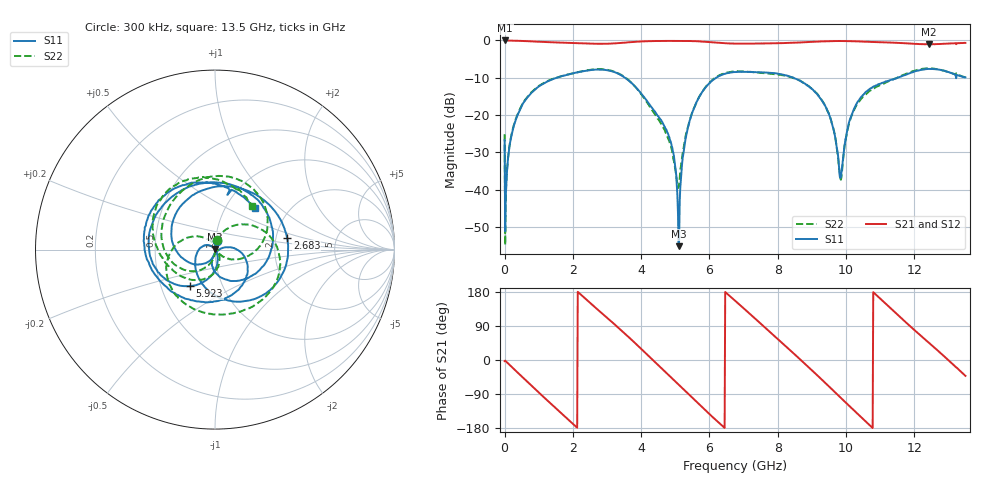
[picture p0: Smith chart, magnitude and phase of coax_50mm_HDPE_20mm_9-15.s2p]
!Agilent Technologies,N5230C,MY48100320,A.08.04.10
!Agilent N5230C: A.08.04.10
!Date: Thursday, September 15, 2016 22:07:35
!Correction: S11(Full 2 Port(1,2))
!S21(Full 2 Port(1,2))
!S12(Full 2 Port(1,2))
!S22(Full 2 Port(1,2))
!S2P File: Measurements: S11, S21, S12, S22:
# Hz S  dB  R 50
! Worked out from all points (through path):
!   801 points, 300 kHz to 13.5 GHz, reference 50 ohm
!   highest |S21| = 0.00 dB at 17.17 MHz (marker M1); lowest = -1.0 dB at 12.44 GHz (marker M2)
!   group delay of S21, straight-line fit = 231 ps
!   lowest |S11| = -55.1 dB at 5.096 GHz (marker M3), VSWR 1.00, Z = 49.9 + j0.143 ohm
!   |S11| at or under -10 dB: start of sweep to 1.528 GHz; 3.53 GHz to 6.196 GHz (2.666 GHz wide, 54.8 % of centre); 8.464 GHz to 11.51 GHz (3.044 GHz wide, 30.5 % of centre)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
!   |S22| runs from -54.8 to -7.5 dB; largest |S21 - S12| = 0.005
!   S11 on the Smith chart (normalised r, x): 300 kHz: 1.01, +0.09; 2.683 GHz: 2.31, +0.36; 5.923 GHz: 0.70, -0.30; 13.5 GHz: 1.36, +0.70
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300000  -26.68 78.6  -0.07 -2.9  -0.07 -2.9  -25.12 77.5
1.717462e7  -51.10 -109.9  0.00 -1.7  0.00 -1.7  -54.82 -82.8
4.221656e8  -19.08 -132.8  -0.10 -36.7  -0.10 -36.6  -18.97 -118.3
1.080276e9  -11.86 161.9  -0.37 -92.4  -0.37 -92.4  -11.76 -168.3
2.2615e9  -8.30 49.7  -0.77 170.2  -0.76 170.3  -8.28 111.4
2.683365e9  -7.80 9.1  -0.87 136.5  -0.87 136.5  -7.71 85.0
3.560846e9  -10.18 -69.3  -0.56 66.6  -0.55 66.6  -10.07 21.6
4.505825e9  -20.33 -174.8  -0.15 -14.1  -0.15 -14.2  -21.19 -35.6
4.893941e9  -28.19 143.7  -0.12 -47.4  -0.12 -47.5  -29.03 -44.0
5.096437e9  -55.10 125.4  -0.11 -64.8  -0.11 -64.9  -39.41 27.8
5.383305e9  -22.96 -78.9  -0.14 -89.7  -0.14 -89.7  -22.71 72.5
5.923293e9  -12.15 -124.2  -0.38 -136.2  -0.38 -136.2  -12.08 32.6
6.75015e9  -8.44 162.7  -0.84 156.6  -0.84 156.6  -8.28 -28.2
7.779502e9  -8.68 61.5  -0.77 73.5  -0.77 73.5  -8.90 -94.9
8.437612e9  -9.88 3.6  -0.61 19.8  -0.62 19.8  -9.97 -143.9
9.01135e9  -13.04 -49.9  -0.37 -27.9  -0.37 -27.9  -12.97 174.7
9.517588e9  -20.17 -97.5  -0.19 -71.0  -0.18 -71.0  -19.96 135.9
9.838206e9  -36.87 -56.2  -0.15 -98.8  -0.14 -98.8  -37.06 38.0
1.029382e10  -17.23 -3.9  -0.23 -138.1  -0.23 -138.2  -17.61 -93.0
1.125567e10  -10.80 -90.8  -0.54 141.0  -0.54 140.9  -10.90 -165.0
1.24369e10  -7.62 147.7  -1.02 45.0  -1.00 44.9  -7.52 120.4
1.35e10  -9.89 46.5  -0.65 -41.8  -0.67 -41.8  -9.93 49.3
